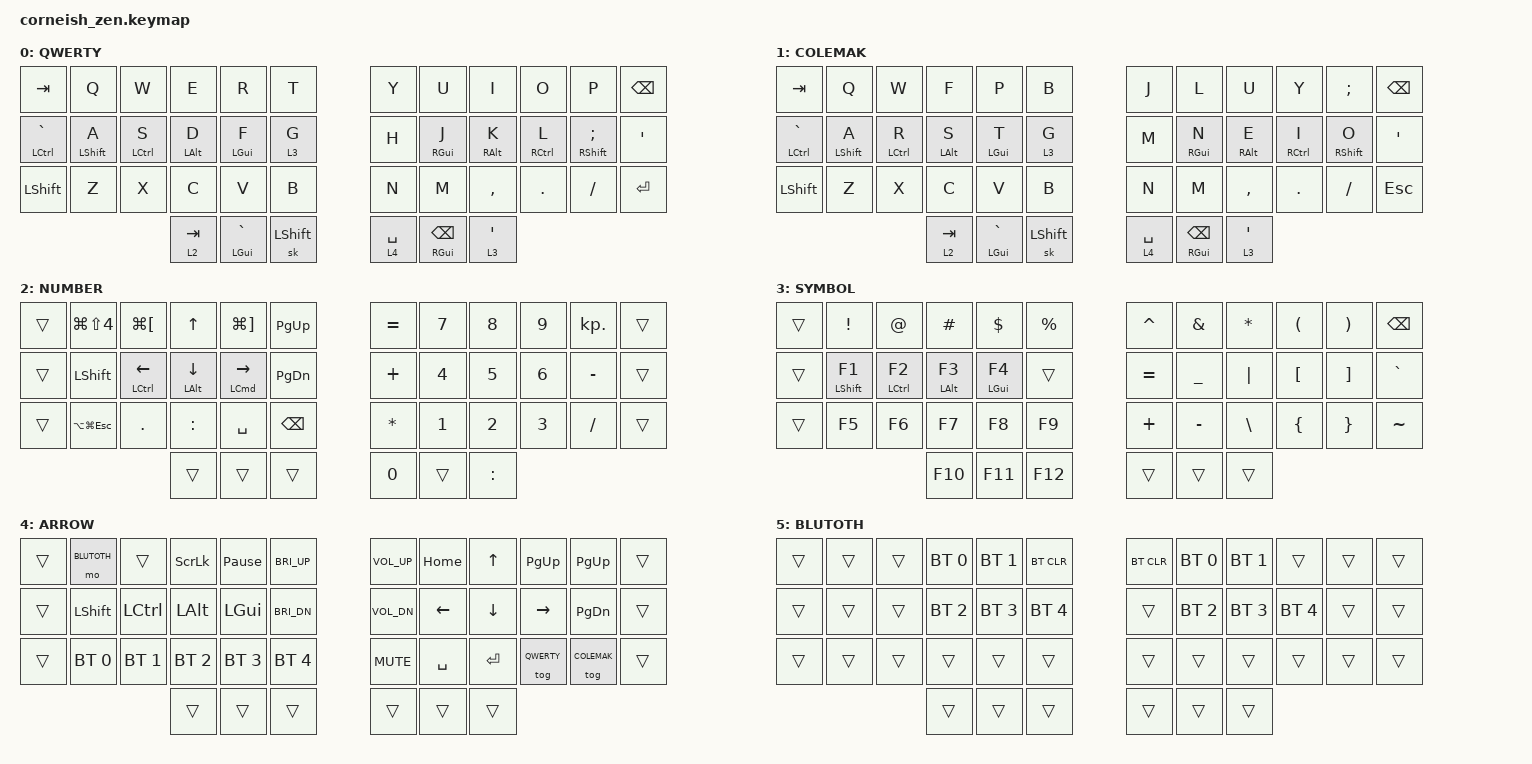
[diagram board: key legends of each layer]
#include <behaviors.dtsi>
#include <dt-bindings/zmk/keys.h>
#include <dt-bindings/zmk/bt.h>

/ {
    behaviors {
        hm: homerow_mods {
            compatible = "zmk,behavior-hold-tap";
            label = "HOMEROW_MODS";
            #binding-cells = <2>;
            tapping-term-ms = <200>;
            quick-tap-ms = <0>;
            flavor = "tap-preferred";
            bindings = <&kp>, <&kp>;
        };
    };

#define QWERTY   0     // QWERTY
#define COLEMAK  1     // Colemak-mod-DH
#define NUMBERS  2     // Number pad layer
#define SYMBOLS  3     // Symbols
#define ARROWS   4     // Arrows and navigation Layer under the space key
#define BLUTOTH  5     // Bluetooth reset button on it's own layer to avoid stupid errors from muscle spasms

/*                KEY POSITIONS

  ╭────────────────────────╮ ╭────────────────────────╮
  │ 0   1   2   3   4   5  │ │ 6   7   8   9   10  11 │
  │ 12  13  14  15  16  17 │ │ 18  19  20  21  22  23 │
  │ 24  25  26  27  28  29 │ │ 30  31  32  33  34  35 │
  ╰───────────╮ 36  37  38 │ │ 39  40  41 ╭───────────╯
              ╰────────────╯ ╰────────────╯ */


#define COMBO(NAME, BINDINGS, KEYPOS) \
  combo_##NAME { \
    timeout-ms = <30>; \
    bindings = <BINDINGS>; \
    key-positions = <KEYPOS>; \
    layers = <0>; \
};

combos {
  compatible = "zmk,combos";
  
  COMBO(ret1,  &kp RET,   31 32)
  COMBO(ret2,  &kp RET,   27 28)
  COMBO(ent1,  &kp RET,   30 31)
  COMBO(ent2,  &kp RET,   28 29)
  COMBO(esc,   &kp ESC,   25 26)
  COMBO(bspc,  &kp BSPC,  18 19) 
  COMBO(del,   &kp DEL,    9 10)  
  COMBO(tab,   &kp TAB,    3 16)
  COMBO(grv,   &kp GRAVE, 16 17) //Grave hold shift for Tilde
  COMBO(sqt,   &kp SQT,   32 33) //Single quote Hold shift for Double quote
  COMBO(bslh,  &kp BSLH,  33 34) //Backslash Hold shift for Pipe
  COMBO(bsp2,  &kp BSPC,   2  4)
  
  COMBO(rightbraket, &kp LBKT, 4 5) // ]
  COMBO(leftbracket, &kp RBKT, 6 7) // [ 
  
  COMBO(one,   &kp N1,     1 13)
  COMBO(two,   &kp N2,     2 14)
  COMBO(three, &kp N3,     3 15)
  COMBO(four,  &kp N4,     4 16)
  COMBO(five,  &kp N5,     5 17)
  COMBO(six,   &kp N6,     6 18)
  COMBO(seven, &kp N7,     7 19)
  COMBO(eight, &kp N8,     8 20)
  COMBO(nine,  &kp N9,     9 21)
  COMBO(zero,  &kp N0,    10 22)
  COMBO(equal, &kp EQUAL, 17 29)
  COMBO(minus, &kp MINUS, 18 30)
  };
};

/ {
  chosen {
    zmk,matrix_transform = &default_transform;
    //zmk,matrix_transform = &five_column_transform;
  };
};



/ {
        keymap {
                compatible = "zmk,keymap";

                default_layer {
                        label = "QWERTY";
// ----------------------------------------------------------------------------------------------------------
// |   TAB  |   Q   |   W   |   E   |   R   |   T   |     |   Y   |   U    |   I   |   O   |   P   |  BKSP  |
// | CT_GRV | SHF_A | CTL_S | ALT_D | COM_F | SYM_G |     |   H   | COM_J  | ALT_K | CTL_L | SH_SC |   '    |
// |  SHFT  |   Z   |   X   |   C   |   V   |   B   |     |   N   |   M    |   ,   |   .   |   /   |  ENT   |
//                          |Num TAB|  GUI  | SHFT  |     |ArrSPC | BKSP   |Sym SQT|
                        bindings = <
 &kp TAB         &kp Q        &kp W       &kp E      &kp R          &kp T        &kp Y       &kp U         &kp I      &kp O       &kp P          &kp BSPC
 &hm LCTRL GRAVE &hm LSHIFT A &hm LCTRL S &hm LALT D &hm LGUI F     &lt 3 G      &kp H       &hm RGUI J    &hm RALT K &hm RCTRL L &hm RSHFT SEMI &kp SQT
 &kp LSHFT       &kp Z        &kp X       &kp C      &kp V          &kp B        &kp N       &kp M         &kp COMMA  &kp DOT     &kp FSLH       &kp RET
                                          &lt 2 TAB  &hm LGUI GRAVE &sk LSHIFT   &lt 4 SPACE &hm RGUI BSPC &lt 3 SQT
                        >;
                };
                colemak_layer {
                        label = "COLEMAK";
// ----------------------------------------------------------------------------------------------------------
// |   TAB  |   Q   |   W   |   F   |   P   |   B   |     |   J   |   L    |   U   |   y   |   ;   |  BKSP  |
// | CT_GRV | SHF_A | CTL_R | ALT_S | COM_T | SYM_G |     |   M   | COM_N  | ALT_E | CTL_I | SHF_O |   '    |
// |  SHFT  |   Z   |   X   |   C   |   D   |   V   |     |   K   |   H    |   ,   |   .   |   /   |  ESC   |
//                          |  NUM  |  GUI  | SHFT  |     |ArrSPC |  BKSP  | SYM ' |
                        bindings = <
 &kp TAB         &kp Q         &kp W       &kp F      &kp P          &kp B        &kp J       &kp L         &kp U      &kp Y       &kp SEMI      &kp BSPC
 &hm LCTRL GRAVE &hm LSHIFT A  &hm LCTRL R &hm LALT S &hm LGUI T     &lt 3 G      &kp M       &hm RGUI N    &hm RALT E &hm RCTRL I &hm RSHFT  O  &kp SQT
 &kp LSHFT       &kp Z         &kp X       &kp C      &kp V          &kp B        &kp N       &kp M         &kp COMMA  &kp DOT     &kp FSLH      &kp ESC
                                           &lt 2 TAB  &hm LGUI GRAVE &sk LSHIFT   &lt 4 SPACE &hm RGUI BSPC &lt 3 SQT
                        >;
                };
                lower_layer {
                        label = "NUMBER";
// ---------------------------------------------------------------------------------------------------------------
// |        | SCRSHOT | GUILBKT |  UP   | GUIRBKT | PG_UP |     |   =   |   7   |   8   |   9   |   .   |        |
// |        |  SHIFT  |  LEFT   |  DOWN |  RIGHT  | PG_DN |     |   +   |   4   |   5   |   6   |   -   |        |
// |        |  FORCE  |    .    |   :   |   SPC   | BKSP  |     |   x   |   1   |   2   |   3   |   /   |        |
//                              |  NUM  |   GUI   | SHFT  |     |   0   |       |   :   |
                        bindings = <
 &trans &kp LG(LS(N4))  &kp LG(LBKT)   &kp UP        &kp LG(RBKT)   &kp PG_UP      &kp EQUAL &kp N7  &kp N8  &kp N9  &kp KP_DOT &trans
 &trans &kp LSHFT       &mt LCTRL LEFT &mt LALT DOWN &mt LCMD RIGHT &kp PG_DN      &kp PLUS  &kp N4  &kp N5  &kp N6  &kp MINUS  &trans
 &trans &kp LA(LG(ESC)) &kp DOT        &kp COLON     &kp SPACE      &kp BSPC       &kp STAR  &kp N1  &kp N2  &kp N3  &kp FSLH   &trans
                                       &trans        &trans         &trans         &kp N0    &trans  &kp COLON
                        >;
                };
                raise_layer {
                        label = "SYMBOL";
// ---------------------------------------------------------------------------------------------------------
// |        |   !   |   @   |   #   |   $   |   %   |     |   ^   |   &   |   *   |   (   |   )   |  BKSP  |
// |        |   F1  |   F2  |   F3  |   F4  |  SYM  |     |   =   |   _   |  "|"  |   [   |   ]   |   `    |
// |        |   F5  |   F6  |   F7  |   F8  |   F9  |     |   +   |   -   |   \   |   {   |   }   |   ~    |
//                          |  F10  |  F11  |  F12  |     |  SPC  |       |  SYM  |
                        bindings = <
 &trans  &kp EXCL      &kp AT       &kp HASH    &kp DLLR    &kp PRCNT    &kp CARET &kp AMPS  &kp STAR &kp LPAR &kp RPAR &kp BSPC
 &trans  &mt LSHIFT F1 &mt LCTRL F2 &mt LALT F3 &mt LGUI F4 &trans       &kp EQUAL &kp UNDER &kp PIPE &kp LBKT &kp RBKT &kp GRAVE
 &trans  &kp F5        &kp F6       &kp F7      &kp F8      &kp F9       &kp PLUS  &kp MINUS &kp BSLH &kp LBRC &kp RBRC &kp TILDE
                                    &kp F10     &kp F11     &kp F12      &trans    &trans    &trans
                        >;
                };
                arrow_layer {
                        label = "ARROW";
// ---------------------------------------------------------------------------------------------------------
// |        |BLUTOTH|       |KC_SLCK|KC_PAUS| BRI_UP|     | VOL_UP| HOME  | PG_DN |  END  | PG_UP |        |
// |        | SHIFT | CTRL  |  ALT  |  GUI  | BRI_DN|     | VOL_DN| LEFT  | DOWN  | RIGHT | PG_DN |        |
// |        |  BT1  |  BT2  |  BT3  |  BT4  |  BT5  |     | KCMUTE| KC_SPC| KC_ENT| QWERTY|COLEMAK|        |
//                          |       |       |       |     |       |       |       |
                        bindings = <
 &trans     &mo BLUTOTH  &trans       &kp SLCK     &kp PAUSE_BREAK &kp C_BRI_UP    &kp C_VOL_UP &kp HOME  &kp UP    &kp PG_UP   &kp PG_UP    &trans
 &trans     &kp LSHFT    &kp LCTRL    &kp LALT     &kp LGUI        &kp C_BRI_DN    &kp C_VOL_DN &kp LEFT  &kp DOWN  &kp RIGHT   &kp PG_DN    &trans
 &trans     &bt BT_SEL 0 &bt BT_SEL 1 &bt BT_SEL 2 &bt BT_SEL 3    &bt BT_SEL 4    &kp C_MUTE   &kp SPACE &kp RET   &tog QWERTY &tog COLEMAK &trans
                                      &trans       &trans          &trans          &trans       &trans    &trans
                        >;
                };
                bluet_layer {
                        label = "BLUTOTH";
// -------------------------------------------------------------------------------------------------------
// |       |       |       |  BT1  |  BT2  | BTCLR |     | BTCLR |  BT1  |  BT2  |       |       |       |
// |       |       |       |  BT3  |  BT4  |  BT5  |     |       |  BT3  |  BT4  |  BT5  |       |       |
// |       |       |       |       |       |       |     |       |       |       |       |       |       |
//                         |       |       |       |     |       |       |       |
                        bindings = <
   &trans  &trans  &trans  &bt BT_SEL 0  &bt BT_SEL 1  &bt BT_CLR     &bt BT_CLR  &bt BT_SEL 0  &bt BT_SEL 1  &trans        &trans   &trans
   &trans  &trans  &trans  &bt BT_SEL 2  &bt BT_SEL 3  &bt BT_SEL 4   &trans      &bt BT_SEL 2  &bt BT_SEL 3  &bt BT_SEL 4  &trans   &trans
   &trans  &trans  &trans  &trans        &trans        &trans         &trans      &trans        &trans        &trans        &trans   &trans
                           &trans        &trans        &trans         &trans      &trans        &trans
                        >;
                };
       };
};
